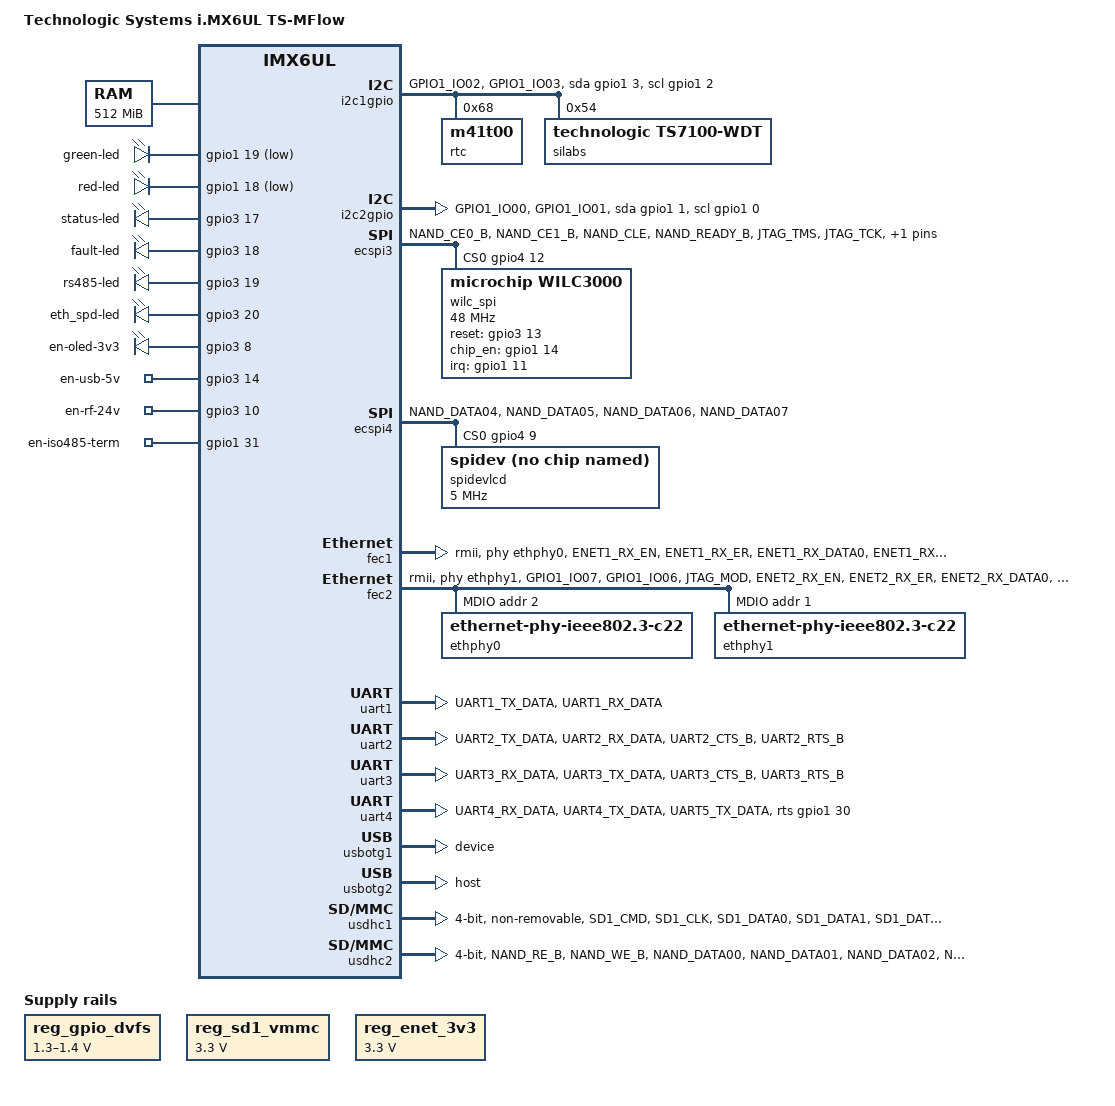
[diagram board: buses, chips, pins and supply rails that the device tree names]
/*
 * Copyright (C) 2020 Technologic Systems
 *
 * This program is free software; you can redistribute it and/or modify
 * it under the terms of the GNU General Public License version 2 as
 * published by the Free Software Foundation.
 */

/dts-v1/;
#include <dt-bindings/input/input.h>
#include "imx6ul.dtsi"

/ {
	model = "Technologic Systems i.MX6UL TS-MFlow ";
	compatible = "technologic,tsmflow", "fsl,imx6ul";

	chosen {
		stdout-path = &uart1;
	};

	memory {
		reg = <0x80000000 0x20000000>;
	};

	leds {
		pinctrl-names = "default";
		pinctrl-0 = <&pinctrl_gpio_leds>;
		compatible = "gpio-leds";

		green-led {
			label = "green-led";
			gpios = <&gpio1 19 GPIO_ACTIVE_LOW>;
			default-state = "on";
		};

		red-led {
			label = "red-led";
			gpios = <&gpio1 18 GPIO_ACTIVE_LOW>;
			default-state = "off";
		};

		status-led {
			label = "status-led";
			gpios = <&gpio3 17 GPIO_ACTIVE_HIGH>;
			default-state = "off";
		};

		fault-led {
			label = "fault-led";
			gpios = <&gpio3 18 GPIO_ACTIVE_HIGH>;
			default-state = "off";
			/* In the case of kernel panic, attempt to use this LED
			 * to flash and indicate status, requires
			 * CONFIG_LEDS_TRIGGER_PANIC  */
			/* panic-indicator; */
		};

		rs485-led {
			label = "rs485-led";
			gpios = <&gpio3 19 GPIO_ACTIVE_HIGH>;
			default-state = "off";
		};

		eth_spd-led {
			label = "eth_spd-led";
			gpios = <&gpio3 20 GPIO_ACTIVE_HIGH>;
			default-state = "off";
		};

		/* The following are meant to be userspace controlled IO. The
		 * kernel does not allow setting default state of GPIO, but
		 * the default state of LEDs can be set, which is why the LED
		 * subsystem is used.
		 */
		en-oled-3v3 {
			label = "en-oled-3v3";
			gpios = <&gpio3 8 GPIO_ACTIVE_HIGH>;
			default-state = "off";
		};

		en-usb-5v {
			label = "en-usb-5v";
			gpios = <&gpio3 14 GPIO_ACTIVE_HIGH>;
			default-state = "on";
		};

		en-rf-24v {
			label = "en-rf-24v";
			gpios = <&gpio3 10 GPIO_ACTIVE_HIGH>;
			default-state = "off";
		};

		en-iso485-term {
			label = "en-iso485-term";
			gpios = <&gpio1 31 GPIO_ACTIVE_HIGH>;
			default-state = "on";
		};
	};

	reserved-memory {
		#address-cells = <1>;
		#size-cells = <1>;
		ranges;

		linux,cma {
			compatible = "shared-dma-pool";
			reusable;
			size = <0x14000000>;
			linux,cma-default;
		};
	};

	aliases {
		ethernet0 = &fec2;
		ethernet1 = &fec1;
		i2c1 = &i2c2gpio;
		i2c0 = &i2c1gpio;
	};

	pxp_v4l2 {
		compatible = "fsl,imx6ul-pxp-v4l2", "fsl,imx6sx-pxp-v4l2", "fsl,imx6sl-pxp-v4l2";
		status = "disabled";
	};

	regulators {
		compatible = "simple-bus";
		#address-cells = <1>;
		#size-cells = <0>;

		reg_gpio_dvfs: regulator-gpio {
			compatible = "regulator-gpio";
			pinctrl-names = "default";
			pinctrl-0 = <&pinctrl_dvfs>;
			regulator-min-microvolt = <1300000>;
			regulator-max-microvolt = <1400000>;
			regulator-name = "gpio_dvfs";
			regulator-type = "voltage";
			gpios = <&gpio5 3 GPIO_ACTIVE_HIGH>;
			states = <1300000 0x1 1400000 0x0>;
		};

		reg_sd1_vmmc: sd1_vmmc {
			compatible = "regulator-fixed";
			regulator-name = "SD1_SPWR";
			regulator-min-microvolt = <3300000>;
			regulator-max-microvolt = <3300000>;
		};

		reg_enet_3v3: regulator-phy@0 {
			compatible = "regulator-fixed";
			regulator-name = "enet_3v3";
			regulator-min-microvolt = <3300000>;
			regulator-max-microvolt = <3300000>;
		};
	};

	i2c1gpio: i2c1gpio {
		compatible = "i2c-gpio";
		pinctrl-names = "default";
		pinctrl-0 = <&pinctrl_i2c1_gpio>;
		gpios = <&gpio1 3 GPIO_ACTIVE_HIGH>, /* sda */
			<&gpio1 2 GPIO_ACTIVE_HIGH>; /* scl */
		#address-cells = <1>;
		#size-cells = <0>;

		status = "okay";

		rtc: m41t00s@68 {
			compatible = "m41t00";
			reg = <0x68>;
		};

		silabs: silabs@54 {
			compatible = "technologic,ts7100-wdt";
			/* 5min timeout default, in case of slow userspace.
			 * Set to 0 to disable WDT at startup. Userspace procs
			 * can still start feeding later.
			 */
			timeout-sec = <300>;
			reg = <0x54>;
		};
	};

	i2c2gpio: i2c2gpio {
		compatible = "i2c-gpio";
		pinctrl-names = "default";
		pinctrl-0 = <&pinctrl_i2c2gpio>;
		gpios = <&gpio1 1 GPIO_ACTIVE_HIGH>, /* sda */
			<&gpio1 0 GPIO_ACTIVE_HIGH>; /* scl */
		i2c-gpio,delay-us = <2>; /* 100khz*/
		#address-cells = <1>;
		#size-cells = <0>;
		status = "okay";

	};
};

&cpu0 {
	arm-supply = <&reg_arm>;
	soc-supply = <&reg_soc>;
	dc-supply = <&reg_gpio_dvfs>;
};

&ecspi2 {
	fsl,spi-num-chipselects = <1>;
	cs-gpios = <&gpio4 22 GPIO_ACTIVE_HIGH>;
	pinctrl-names = "default";
	pinctrl-0 = <&pinctrl_ecspi2>;
	status = "disabled";

	spinor: spi@0 {
		compatible = "micron,n25q064", "jedec,spi-nor";
		reg = <0>;
		spi-max-frequency = <108000000>;
		size = <0x800000>;
		address-width = <24>;
		pagesize = <256>;
	};
};

&ecspi3 {
	fsl,spi-num-chipselects = <1>;
	cs-gpios = <&gpio4 12 GPIO_ACTIVE_HIGH>;
	pinctrl-names = "default";
	pinctrl-0 = <&pinctrl_ecspi3>;
	status = "okay";

	wilc_spi@0 {
		compatible = "microchip,wilc3000";
		reg = <0>;
		spi-max-frequency = <48000000>;
		reset-gpios = <&gpio3 13 GPIO_ACTIVE_HIGH>;
		chip_en-gpios = <&gpio1 14 GPIO_ACTIVE_HIGH>;
		irq-gpios = <&gpio1 11 GPIO_ACTIVE_HIGH>;
		status = "okay";
	};
};

&ecspi4 {
	fsl,spi-num-chipselects = <1>;
	cs-gpios = <&gpio4 9 GPIO_ACTIVE_HIGH>;
	pinctrl-names = "default";
	pinctrl-0 = <&pinctrl_ecspi4>;
	status = "okay";

	/* OLED is on this bus */
	spidevlcd: spi@0 {
		compatible = "spidev";
		reg = <0>;
		spi-max-frequency = <5000000>;
	};

};

&fec1 {
	pinctrl-names = "default";
	pinctrl-0 = <&pinctrl_enet1>;
	phy-mode = "rmii";
	phy-handle = <&ethphy0>;
	status = "okay";
};

&fec2 {
	pinctrl-names = "default";
	pinctrl-0 = <&pinctrl_enet2>;
	phy-mode = "rmii";
	phy-handle = <&ethphy1>;
	status = "okay";

	mdio {
		#address-cells = <1>;
		#size-cells = <0>;

		ethphy0: ethernet-phy@2 {
			clocks = <&clks IMX6UL_CLK_ENET_REF>;
			clock-names = "rmii-ref";
			compatible = "ethernet-phy-ieee802.3-c22";
			reg = <2>;
		};

		ethphy1: ethernet-phy@1 {
			clocks = <&clks IMX6UL_CLK_ENET2_REF>;
			clock-names = "rmii-ref";
			compatible = "ethernet-phy-ieee802.3-c22";
			reg = <1>;
		};
	};
};

&gpc {
	fsl,cpu_pupscr_sw2iso = <0x1>;
	fsl,cpu_pupscr_sw = <0x0>;
	fsl,cpu_pdnscr_iso2sw = <0x1>;
	fsl,cpu_pdnscr_iso = <0x1>;
	fsl,ldo-bypass = <0>; /* DCDC, ldo-enable */
};

&uart1 {
	pinctrl-names = "default";
	pinctrl-0 = <&pinctrl_uart1>;
	status = "okay";
};

/* RF */
&uart2 {
	pinctrl-names = "default";
	pinctrl-0 = <&pinctrl_uart2>;
	status = "okay";

	uart-has-rtscts;
};

/* BT */
&uart3 {
	pinctrl-names = "default";
	pinctrl-0 = <&pinctrl_uart3>;
	status = "okay";
	uart-has-rtscts;
};

/* RS-485 */
&uart4 {
	pinctrl-names = "default";
	pinctrl-0 = <&pinctrl_uart4>;
	status = "okay";

	uart-has-rtscts;
	rts-gpios = <&gpio1 30 GPIO_ACTIVE_HIGH>;
	linux,rs485-enabled-at-boot-time;
};

&usbotg1 {
	dr_mode = "device";
	srp-disable;
	hnp-disable;
	adp-disable;
	status = "okay";
};

&usbotg2 {
	dr_mode = "host";
	disable-over-current;
	status = "okay";
};

/* eMMC */
&usdhc1 {
	pinctrl-names = "default";
	pinctrl-0 = <&pinctrl_usdhc1>;
	no-1-8-v;
	disable-wp;
	non-removable;
	bus-width = <4>;
	status = "okay";
};

/* SD */
&usdhc2 {
	pinctrl-names = "default";
	pinctrl-0 = <&pinctrl_usdhc2>;
	no-1-8-v;
	disable-wp;
	broken-cd = <1>;
	bus-width = <4>;
	status = "okay";
};


&snvs_rtc {
	status = "disabled";
};

/* WDT is in the uC, but we need to explicitly disable CPU WDT */
&wdog1 {
       status = "disabled";
};




&iomuxc {
	pinctrl-names = "default";
	pinctrl-0 = <&pinctrl_hog>;
	imx6ul-ts7180 {
		pinctrl_hog: hoggrp {
			fsl,pins = <
				/* All GPIO should be 0x1b020 unless special
				 * 0x1b020 == Hyst., 100k PU, 50 mA drive
				 * 0x1a020 == no pull resistor
				 * 0x13020 == 100k PD
				 */
				MX6UL_PAD_JTAG_TDI__GPIO1_IO13       0x1b020
				MX6UL_PAD_JTAG_TDO__GPIO1_IO12       0x1b020
				MX6UL_PAD_JTAG_TRST_B__GPIO1_IO15    0x1b020
				/* DETECT_9471 */
				MX6UL_PAD_NAND_ALE__GPIO4_IO10       0x1b020
				/* POWER_FAIL */
				MX6UL_PAD_SNVS_TAMPER0__GPIO5_IO00   0x1b020
				/* Add silab clk, data, en_prog */
				/* Add strap pins! */

				/* RES_STRAP_0 */
				MX6UL_PAD_LCD_DATA18__GPIO3_IO23     0x1b020
				/* RES_STRAP_1 */
				MX6UL_PAD_LCD_DATA19__GPIO3_IO24     0x1b020
				/* RES_STRAP_2 */
				MX6UL_PAD_LCD_DATA22__GPIO3_IO27     0x1b020
				/* RES_STRAP_3 */
				MX6UL_PAD_LCD_DATA23__GPIO3_IO28     0x1b020
			>;
		};

		pinctrl_gpio_leds: gpioledgrp {
			fsl,pins = <
				/* Red LED */
				MX6UL_PAD_UART1_CTS_B__GPIO1_IO18    0x1b020
				/* Green LED */
				MX6UL_PAD_UART1_RTS_B__GPIO1_IO19    0x1b020
				/* Status LED */
				MX6UL_PAD_LCD_DATA12__GPIO3_IO17     0x1b020
				/* Fault LED */
				MX6UL_PAD_LCD_DATA13__GPIO3_IO18     0x1b020
				/* RS-485 LED */
				MX6UL_PAD_LCD_DATA14__GPIO3_IO19     0x1b020
				/* Eth SPD LED (unused) */
				MX6UL_PAD_LCD_DATA15__GPIO3_IO20     0x1b020

				/* En. OLED 3.3 V */
				MX6UL_PAD_LCD_DATA03__GPIO3_IO08     0x1b020
				/* En. Host USB 5 V (unused) */
				MX6UL_PAD_LCD_DATA09__GPIO3_IO14     0x1b020
				/* En. RF Switched 24 V */
				MX6UL_PAD_LCD_DATA05__GPIO3_IO10     0x1b020
				/* En. ISO485 Termination */
				MX6UL_PAD_UART5_RX_DATA__GPIO1_IO31  0x1b020
			>;
		};

		pinctrl_uart1: uart1grp {
			fsl,pins = <
				MX6UL_PAD_UART1_TX_DATA__UART1_DCE_TX 0x1b0b1
				MX6UL_PAD_UART1_RX_DATA__UART1_DCE_RX 0x1b0b1
			>;
		};

		pinctrl_uart2: uart2grp {
			fsl,pins = <
				MX6UL_PAD_UART2_TX_DATA__UART2_DCE_TX	0x1b0b1
				MX6UL_PAD_UART2_RX_DATA__UART2_DCE_RX	0x1b0b1
				MX6UL_PAD_UART2_CTS_B__UART2_DCE_CTS    0x1b0b1
				MX6UL_PAD_UART2_RTS_B__UART2_DCE_RTS    0x1b0b1
			>;
		};

		pinctrl_uart3: uart3grp {
			fsl,pins = <
				MX6UL_PAD_UART3_RX_DATA__UART3_DCE_RX	0x1b0b1
				MX6UL_PAD_UART3_TX_DATA__UART3_DCE_TX	0x1b0b1
				MX6UL_PAD_UART3_CTS_B__UART3_DCE_CTS	0x1b0b1
				MX6UL_PAD_UART3_RTS_B__UART3_DCE_RTS	0x1b0b1
			>;
		};

		pinctrl_uart4: uart4grp {
			fsl,pins = <
				MX6UL_PAD_UART4_RX_DATA__UART4_DCE_RX	0x1b0b1
				MX6UL_PAD_UART4_TX_DATA__UART4_DCE_TX	0x1b0b1
				/* TXEN */
				MX6UL_PAD_UART5_TX_DATA__GPIO1_IO30     0x1b0b1
			>;
		};

		pinctrl_enet1: enet1grp {
			fsl,pins = <
				MX6UL_PAD_ENET1_RX_EN__ENET1_RX_EN      0x1b0b0
				MX6UL_PAD_ENET1_RX_ER__ENET1_RX_ER      0x1b0b0
				MX6UL_PAD_ENET1_RX_DATA0__ENET1_RDATA00 0x1b0b0
				MX6UL_PAD_ENET1_RX_DATA1__ENET1_RDATA01 0x1b0b0
				MX6UL_PAD_ENET1_TX_EN__ENET1_TX_EN      0x1b0b0
				MX6UL_PAD_ENET1_TX_DATA0__ENET1_TDATA00 0x1b0b0
				MX6UL_PAD_ENET1_TX_DATA1__ENET1_TDATA01 0x1b0b0
				MX6UL_PAD_ENET1_TX_CLK__ENET1_REF_CLK1 0x4001b031
			>;
		};

		pinctrl_enet2: enet2grp {
			fsl,pins = <
				MX6UL_PAD_GPIO1_IO07__ENET2_MDC         0x1b0b0
				MX6UL_PAD_GPIO1_IO06__ENET2_MDIO        0x1b0b0
				MX6UL_PAD_JTAG_MOD__GPIO1_IO10          0x1f0b0
				MX6UL_PAD_ENET2_RX_EN__ENET2_RX_EN      0x1b0b0
				MX6UL_PAD_ENET2_RX_ER__ENET2_RX_ER      0x1b0b0
				MX6UL_PAD_ENET2_RX_DATA0__ENET2_RDATA00 0x1b0b0
				MX6UL_PAD_ENET2_RX_DATA1__ENET2_RDATA01 0x1b0b0
				MX6UL_PAD_ENET2_TX_EN__ENET2_TX_EN      0x1b0b0
				MX6UL_PAD_ENET2_TX_DATA0__ENET2_TDATA00 0x1b0b0
				MX6UL_PAD_ENET2_TX_DATA1__ENET2_TDATA01 0x1b0b0
				MX6UL_PAD_ENET2_TX_CLK__ENET2_REF_CLK2 0x4001b031
			>;
		};

		pinctrl_i2c1: i2c1grp {
			fsl,pins = <
				MX6UL_PAD_GPIO1_IO02__I2C1_SCL        0x4001a8b0
				MX6UL_PAD_GPIO1_IO03__I2C1_SDA        0x4001a8b0
			>;
		};

		pinctrl_i2c1_gpio: i2c1grpgpio {
			fsl,pins = <
				MX6UL_PAD_GPIO1_IO02__GPIO1_IO02      0x4001a8b0
				MX6UL_PAD_GPIO1_IO03__GPIO1_IO03      0x4001a8b0
			>;
		};

		pinctrl_i2c2gpio: i2c2grpgpio {
			fsl,pins = <
				MX6UL_PAD_GPIO1_IO00__GPIO1_IO00      0x4001a8b0
				MX6UL_PAD_GPIO1_IO01__GPIO1_IO01      0x4001a8b0
			>;
		};

		pinctrl_usdhc1: usdhc1grp {
			fsl,pins = <
				MX6UL_PAD_SD1_CMD__USDHC1_CMD        0x17059
				MX6UL_PAD_SD1_CLK__USDHC1_CLK        0x10071
				MX6UL_PAD_SD1_DATA0__USDHC1_DATA0    0x17059
				MX6UL_PAD_SD1_DATA1__USDHC1_DATA1    0x17059
				MX6UL_PAD_SD1_DATA2__USDHC1_DATA2    0x17059
				MX6UL_PAD_SD1_DATA3__USDHC1_DATA3    0x17059
			>;
		};

		pinctrl_usdhc2: usdhc2grp {
			fsl,pins = <
				MX6UL_PAD_NAND_RE_B__USDHC2_CLK     0x10069
				MX6UL_PAD_NAND_WE_B__USDHC2_CMD     0x17059
				MX6UL_PAD_NAND_DATA00__USDHC2_DATA0 0x17059
				MX6UL_PAD_NAND_DATA01__USDHC2_DATA1 0x17059
				MX6UL_PAD_NAND_DATA02__USDHC2_DATA2 0x17059
				MX6UL_PAD_NAND_DATA03__USDHC2_DATA3 0x17059
			>;
		};

		pinctrl_ecspi2: exspi2grp {
			fsl,pins = <
				MX6UL_PAD_CSI_DATA00__ECSPI2_SCLK  0x1b020
				MX6UL_PAD_CSI_DATA02__ECSPI2_MOSI  0x1b020
				MX6UL_PAD_CSI_DATA03__ECSPI2_MISO  0x1b020

				/* SPI flash CS# */
				MX6UL_PAD_CSI_DATA01__GPIO4_IO22   0x1b020
			>;
		};

		pinctrl_ecspi3: ecspi3grp {
			fsl,pins = <
				MX6UL_PAD_NAND_CE0_B__ECSPI3_SCLK  0x1b020
				MX6UL_PAD_NAND_CE1_B__ECSPI3_MOSI  0x1b020
				MX6UL_PAD_NAND_CLE__ECSPI3_MISO	   0x1b820
				/* WIFI_CS# CS0 */
				MX6UL_PAD_NAND_READY_B__GPIO4_IO12 0x1b020

				/* WIFI_IRQ# */
				MX6UL_PAD_JTAG_TMS__GPIO1_IO11     0x1b020
				/* CHIP_EN (EN_WIFI_PWR) */
				MX6UL_PAD_JTAG_TCK__GPIO1_IO14     0x1b020
				/* WIFI_RESET# */
				MX6UL_PAD_LCD_DATA08__GPIO3_IO13   0x1b020
			>;
		};

		pinctrl_ecspi4: ecspi4grp {
			fsl,pins = <
				MX6UL_PAD_NAND_DATA04__ECSPI4_SCLK  0x1b020
				MX6UL_PAD_NAND_DATA05__ECSPI4_MOSI  0x1b020
				MX6UL_PAD_NAND_DATA06__ECSPI4_MISO  0x1b020

				/* OLED CS# */
				MX6UL_PAD_NAND_DATA07__GPIO4_IO09   0x1b020
			>;
		};

		pinctrl_dvfs: dvfsgrp {
			fsl,pins = <
				MX6UL_PAD_SNVS_TAMPER3__GPIO5_IO03  0x1b0a0
			>;
		};
	};
};
